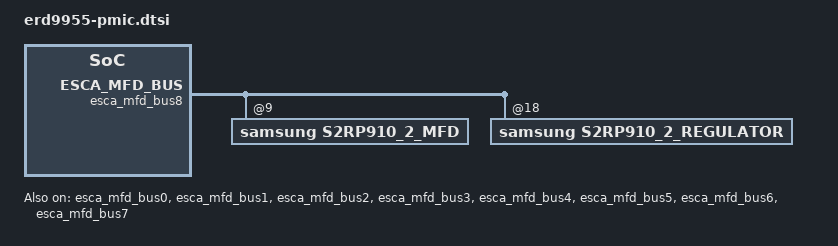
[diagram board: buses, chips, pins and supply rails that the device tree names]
/*
 * SAMSUNG S5E9955 SOC PMIC device tree source
 *
 * Copyright (c) 2024 Samsung Electronics Co., Ltd.
 *             http://www.samsung.com
 *
 * SAMSUNG S5E9955 SOC PMIC device nodes are listed in this file.
 * EXYNOS based board files can include this file and provide
 * values for board specfic bindings.
 *
 * This program is free software; you can redistribute it and/or modify
 * it under the terms of the GNU General Public License version 2 as
 * published by the Free Software Foundation.
 */

#include <dt-bindings/soc/samsung/s5e9955-esca-ipc.h>

#define FCCM			1
#define AUTO			2

#define MAIN_ONSRC_ADDR		0x0504
#define MAIN_OFFSRC_ADDR	0x0414
#define SUB_OFFSRC_ADDR		0x0509
#define EXT_OFFSRC_ADDR		0x050A
#define RF_OFFSRC_ADDR		0x0507

&pinctrl_7 {
	smpl_warn: smpl-warn {
		samsung,pins = "gpg0-0";
		samsung,pin-function = <15>;
		samsung,pin-pud = <0>;
		samsung,pin-drv = <0>;
		samsung,pin-con-pdn = <3>;
		samsung,pin-pud-pdn = <0>;
	};
};

&esca_mfd_bus0 {
	status = "okay";
	#address-cells = <1>;
	#size-cells = <0>;

	s2se910mfd@1 {
		compatible = "samsung,s2se910_mfd";
		esca-ipc-channel = <ESCA_IPC_PHY__MFD>;
		s2p,wakeup = <1>;
		reg = <0x01>;
		sid = <0x0D>;
		pinctrl-names = "default";
		pinctrl-0 = <&smpl_warn>;
		gpios = <&gpg0 0 0>;

		/* SMPL_WARN */
		smpl_warn_en = <1>; /* 1 : enable , 0 : disable */

		s2p_irq {
			interrupts = <GIC_SPI INTREQ__COMB_NONSECURE_INTCOMB_VGPIO2AP IRQ_TYPE_LEVEL_HIGH>;
			interrupt-parent = <&gic>;
			s2p,vgi_cnt = <6>;
			sysreg,spmi_master_pmic = <0x13A00000>;
			sysreg,vgpio_monitor = <0>;
			sysreg,vgpio_monitor2 = <4>;		//offset 4 for spmi_master_pmic_ap
			sysreg,intcomb_vgpio2ap = <0x13920000>;
			sysreg,intcomb_vgpio2pmu = < 0x13940000>;
			sysreg,intc0_ipend = <0x0290>;
		};

		s2p_rtc {
			/* wtsr/smpl */
			wtsr_en = <1>; /* 1 : enable, 0 : disable */
			smpl_en = <1>; /* 1 : enable, 0 : disable */
			wtsr_timer_val = <3>;	/* 1000ms */
			smpl_timer_val = <0>;	/* 100ms */
			check_jigon_en = <0>; /* do not check jigon */
			/* If it's first boot, reset rtc to 1/1/2024 12:00:00(Mon) */
			init_time,sec = <0>;
			init_time,min = <0>;
			init_time,hour = <12>;
			init_time,mday = <1>;
			init_time,mon = <0>;
			init_time,year = <124>;
			init_time,wday = <1>;
		};

		s2se910_gpadc: s2se910-gpadc {
			#io-channel-cells = <1>;
			io-channel-ranges;
			esca-ipc-channel = <ESCA_IPC_PHY__ADC>;
		};

	       s2se910-keys {
			button@1 {
				label = "pmic-keys: KEY_POWER";
				linux,code = <116>;
				wakeup;
			};

			button@2 {
				label = "pmic-keys: KEY_VOLUMEDOWN";
				linux,code = <114>;
			};
		};
	}; /* end of s2se910mfd@1 */

	s2se910_regulator@10 {
		compatible = "samsung,s2se910_regulator";
		esca-ipc-channel = <ESCA_IPC_PHY__MFD>;
		reg = <0x10>;
		sid = <0x0D>;

		inst_acok_en = <1>; /* 1 : enable , 0 : disable */
		jig_reboot_en = <1>; /* 1 : enable , 0 : disable */
		pmic_src_no = <0>; /* pmic src index */
		on_src = <MAIN_ONSRC_ADDR 2>; /* start addr, num of addr */
		off_src = <MAIN_OFFSRC_ADDR 2>; /* start addr, num of addr */

		regulators {
			b1_sr1_reg: BUCK_SR1 {
				regulator-name = "vdd_buck_sr1m";
				regulator-min-microvolt = <1750000>;
				regulator-max-microvolt = <2000000>;
				regulator-ramp-delay = <6000>;
				regulator-enable-mode = <3>;
				regulator-always-on;
			};

			bb1_reg: BUCKB1 {
				regulator-name = "vdd_buck_boost1m";
				regulator-min-microvolt = <3000000>;
				regulator-max-microvolt = <3600000>;
				regulator-ramp-delay = <6000>;
				regulator-enable-mode = <3>;
				regulator-always-on;
			};

			bb2_reg: BUCKB2 {
				regulator-name = "vdd_buck_boost2m";
				regulator-min-microvolt = <2600000>;
				regulator-max-microvolt = <3600000>;
				regulator-ramp-delay = <6000>;
				regulator-enable-mode = <3>;
				regulator-always-on;
			};

			l1_reg: LDO1 {
				regulator-name = "vdd_ldo1m";
				regulator-min-microvolt = <1600000>;
				regulator-max-microvolt = <1900000>;
				regulator-ramp-delay = <12000>;
				regulator-enable-mode = <3>;
				regulator-always-on;
			};
/*
			l2_reg: LDO2 {
				regulator-name = "vdd_ldo2m";
				regulator-min-microvolt = <1600000>;
				regulator-max-microvolt = <1900000>;
				regulator-ramp-delay = <12000>;
				regulator-enable-mode = <3>;
				regulator-always-on;
			};
*/
			l3_reg: LDO3 {
				regulator-name = "vdd_ldo3m";
				regulator-min-microvolt = <1600000>;
				regulator-max-microvolt = <1900000>;
				regulator-ramp-delay = <12000>;
				regulator-enable-mode = <3>;
				regulator-always-on;
			};

			l4_reg: LDO4 {
				regulator-name = "vdd_ldo4m";
				regulator-min-microvolt = <1600000>;
				regulator-max-microvolt = <1900000>;
				regulator-ramp-delay = <12000>;
				regulator-enable-mode = <3>;
				regulator-always-on;
			};

			l5_reg: LDO5 {
				regulator-name = "vdd_ldo5m";
				regulator-min-microvolt = <1600000>;
				regulator-max-microvolt = <1900000>;
				regulator-ramp-delay = <12000>;
				regulator-enable-mode = <3>;
				regulator-always-on;
			};

			l6_reg: LDO6 {
				regulator-name = "vdd_ldo6m";
				regulator-min-microvolt = <1600000>;
				regulator-max-microvolt = <1900000>;
				regulator-ramp-delay = <12000>;
				regulator-enable-mode = <3>;
				regulator-always-on;
			};

			l7_reg: LDO7 {
				regulator-name = "vdd18_usb";
				regulator-min-microvolt = <1600000>;
				regulator-max-microvolt = <1900000>;
				regulator-ramp-delay = <12000>;
				regulator-enable-mode = <3>;
			};

			l8_reg: LDO8 {
				regulator-name = "vdd_ldo8m";
				regulator-min-microvolt = <1800000>;
				regulator-max-microvolt = <3375000>;
				regulator-ramp-delay = <12000>;
				regulator-enable-mode = <3>;
			};

			l9_reg: LDO9 {
				regulator-name = "vdd_ldo9m";
				regulator-min-microvolt = <1800000>;
				regulator-max-microvolt = <3375000>;
				regulator-ramp-delay = <12000>;
				regulator-enable-mode = <3>;
			};

			l10_reg: LDO10 {
				regulator-name = "vdd_ldo10m";
				regulator-min-microvolt = <1800000>;
				regulator-max-microvolt = <3375000>;
				regulator-ramp-delay = <12000>;
				regulator-enable-mode = <3>;
				regulator-always-on;
			};

			l11_reg: LDO11 {
				regulator-name = "vdd33_usb";
				regulator-min-microvolt = <1800000>;
				regulator-max-microvolt = <3375000>;
				regulator-ramp-delay = <12000>;
				regulator-enable-mode = <3>;
			};

			l12_reg: LDO12 {
				regulator-name = "vdd_ldo12m";
				regulator-min-microvolt = <1600000>;
				regulator-max-microvolt = <1900000>;
				regulator-ramp-delay = <12000>;
				regulator-enable-mode = <3>;
				regulator-always-on;
			};

			l13_reg: LDO13 {
				regulator-name = "vdd_ldo13m";
				regulator-min-microvolt = <1600000>;
				regulator-max-microvolt = <1900000>;
				regulator-ramp-delay = <12000>;
				regulator-enable-mode = <3>;
				regulator-always-on;
			};

			l14_reg: LDO14 {
				regulator-name = "vdd_ldo14m";
				regulator-min-microvolt = <1600000>;
				regulator-max-microvolt = <1900000>;
				regulator-ramp-delay = <12000>;
				regulator-enable-mode = <3>;
				regulator-always-on;
			};

			l15_reg: LDO15 {
				regulator-name = "vdd_ldo15m";
				regulator-min-microvolt = <1600000>;
				regulator-max-microvolt = <1900000>;
				regulator-ramp-delay = <12000>;
				regulator-enable-mode = <3>;
				regulator-always-on;
			};

			l16_reg: LDO16 {
				regulator-name = "vdd_ldo16m";
				regulator-min-microvolt = <1600000>;
				regulator-max-microvolt = <1900000>;
				regulator-ramp-delay = <12000>;
				regulator-enable-mode = <3>;
				regulator-always-on;
			};

			l17_reg: LDO17 {
				regulator-name = "vdd_ldo17m";
				regulator-min-microvolt = <1600000>;
				regulator-max-microvolt = <1900000>;
				regulator-ramp-delay = <12000>;
				regulator-enable-mode = <3>;
				regulator-always-on;
			};

			l18_reg: LDO18 {
				regulator-name = "vdd_ldo18m";
				regulator-min-microvolt = <1600000>;
				regulator-max-microvolt = <1900000>;
				regulator-ramp-delay = <12000>;
				regulator-enable-mode = <3>;
				regulator-always-on;
			};

			l19_reg: LDO19 {
				regulator-name = "vdd_ldo19m";
				regulator-min-microvolt = <1600000>;
				regulator-max-microvolt = <1900000>;
				regulator-ramp-delay = <12000>;
				regulator-enable-mode = <3>;
				regulator-always-on;
			};

			l20_reg: LDO20 {
				regulator-name = "vdd_ldo20m";
				regulator-min-microvolt = <1800000>;
				regulator-max-microvolt = <3375000>;
				regulator-ramp-delay = <12000>;
				regulator-enable-mode = <3>;
				regulator-always-on;
			};

			l21_reg: LDO21 {
				regulator-name = "vdd_ldo21m";
				regulator-min-microvolt = <1800000>;
				regulator-max-microvolt = <3375000>;
				regulator-ramp-delay = <12000>;
				regulator-enable-mode = <3>;
				regulator-always-on;
			};

			l22_reg: LDO22 {
				regulator-name = "vdd_ldo22m";
				regulator-min-microvolt = <1800000>;
				regulator-max-microvolt = <3375000>;
				regulator-ramp-delay = <12000>;
				regulator-enable-mode = <3>;
				regulator-always-on;
			};

			l23_reg: LDO23 {
				regulator-name = "vdd_ldo23m";
				regulator-min-microvolt = <1800000>;
				regulator-max-microvolt = <3375000>;
				regulator-ramp-delay = <12000>;
				regulator-enable-mode = <3>;
				regulator-always-on;
			};
/*
			l24_reg: LDO24 {
				regulator-name = "vdd_ldo24m";
				regulator-min-microvolt = <1800000>;
				regulator-max-microvolt = <3375000>;
				regulator-ramp-delay = <12000>;
				regulator-enable-mode = <3>;
				regulator-always-on;
			};

			l25_reg: LDO25 {
				regulator-name = "vdd_ldo25m";
				regulator-min-microvolt = <1800000>;
				regulator-max-microvolt = <3375000>;
				regulator-ramp-delay = <12000>;
				regulator-enable-mode = <3>;
				regulator-always-on;
			};
*/
			l26_reg: LDO26 {
				regulator-name = "vdd_ldo26m";
				regulator-min-microvolt = <1600000>;
				regulator-max-microvolt = <1900000>;
				regulator-ramp-delay = <12000>;
				regulator-enable-mode = <3>;
				regulator-always-on;
			};
		}; /* end of regulators */
	}; /* end of s2se910_regulator@10 */
}; /* end of esca_mfd_bus0 */

&esca_mfd_bus1 {
	status = "okay";
	#address-cells = <1>;
	#size-cells = <0>;

	s2se911_1_mfd@2 {
		compatible = "samsung,s2se911_1_mfd";
		esca-ipc-channel = <ESCA_IPC_PHY__MFD>;
		s2p,wakeup = <1>;
		reg = <0x02>;
		sid = <0x00>;

		s2se911_1_gpio: s2se911-gpio {
			gpio-controller;
			#gpio-cells = <2>;
			samsung,npins = <6>;
			status = "okay";
		}; /* s2se911-gpio */
	}; /* end of s2se911_1_mfd@2 */

	s2se911_1_regulator@11 {
		compatible = "samsung,s2se911_1_regulator";
		esca-ipc-channel = <ESCA_IPC_PHY__MFD>;
		reg = <0x11>;
		sid = <0x00>;
		wtsr_en = <1>; /* 0 : disable, 1: enable */
		pmic_src_no = <1>; /* pmic src index */
		off_src = <SUB_OFFSRC_ADDR 1>; /* start addr, num of addr */

		regulators {
			s1_b1_reg: BUCK1 {
				regulator-name = "vdd_buck1s1";
				regulator-min-microvolt = <400000>;
				regulator-max-microvolt = <1250000>;
				regulator-ramp-delay = <6000>;
				regulator-enable-mode = <1>;
				regulator-always-on;
			};

			s1_b2_reg: BUCK2 {
				regulator-name = "vdd_buck2s1";
				regulator-min-microvolt = <400000>;
				regulator-max-microvolt = <1250000>;
				regulator-ramp-delay = <6000>;
				regulator-enable-mode = <1>;
				regulator-always-on;
			};

			s1_b3_reg: BUCK3 {
				regulator-name = "vdd_buck3s1";
				regulator-min-microvolt = <400000>;
				regulator-max-microvolt = <1250000>;
				regulator-ramp-delay = <6000>;
				regulator-enable-mode = <1>;
				regulator-always-on;
			};

			s1_b4_reg: BUCK4 {
				regulator-name = "vdd_buck4s1";
				regulator-min-microvolt = <400000>;
				regulator-max-microvolt = <1250000>;
				regulator-ramp-delay = <6000>;
				regulator-enable-mode = <1>;
				regulator-always-on;
			};

			s1_b5_reg: BUCK5 {
				regulator-name = "vdd_buck5s1";
				regulator-min-microvolt = <400000>;
				regulator-max-microvolt = <1250000>;
				regulator-ramp-delay = <6000>;
				regulator-enable-mode = <1>;
				regulator-always-on;
			};

			s1_b6_reg: BUCK6 {
				regulator-name = "vdd_buck6s1";
				regulator-min-microvolt = <400000>;
				regulator-max-microvolt = <1250000>;
				regulator-ramp-delay = <6000>;
				regulator-enable-mode = <1>;
				regulator-always-on;
			};
/*
			s1_b_sr1_reg: BUCK_SR1 {
				regulator-name = "vdd_buck_sr1s1";
				regulator-min-microvolt = <400000>;
				regulator-max-microvolt = <1350000>;
				regulator-ramp-delay = <6000>;
				regulator-enable-mode = <3>;
				regulator-always-on;
			};
*/
			s1_l1_reg: LDO1 {
				regulator-name = "vdd_ldo1s1";
				regulator-min-microvolt = <400000>;
				regulator-max-microvolt = <1300000>;
				regulator-ramp-delay = <12000>;
				regulator-enable-mode = <1>;
				regulator-always-on;
			};
/*
			s1_l2_reg: LDO2 {
				regulator-name = "vdd_ldo2s1";
				regulator-min-microvolt = <400000>;
				regulator-max-microvolt = <1300000>;
				regulator-ramp-delay = <12000>;
				regulator-enable-mode = <3>;
				regulator-always-on;
			};

			s1_l3_reg: LDO3 {
				regulator-name = "vdd_ldo3s1";
				regulator-min-microvolt = <400000>;
				regulator-max-microvolt = <1300000>;
				regulator-ramp-delay = <12000>;
				regulator-enable-mode = <3>;
				regulator-always-on;
			};
*/
			s1_l4_reg: LDO4 {
				regulator-name = "vdd_ldo4s1";
				regulator-min-microvolt = <400000>;
				regulator-max-microvolt = <1300000>;
				regulator-ramp-delay = <12000>;
				regulator-enable-mode = <3>;
				regulator-always-on;
			};

			s1_l5_reg: LDO5 {
				regulator-name = "vdd_ldo5s1";
				regulator-min-microvolt = <400000>;
				regulator-max-microvolt = <1300000>;
				regulator-ramp-delay = <12000>;
				regulator-enable-mode = <1>;
				regulator-always-on;
			};

			s1_l6_reg: LDO6 {
				regulator-name = "vdd_ldo6s1";
				regulator-min-microvolt = <400000>;
				regulator-max-microvolt = <1300000>;
				regulator-ramp-delay = <12000>;
				regulator-enable-mode = <3>;
				regulator-always-on;
			};
		}; /* end of regulators */
	}; /* end of s2se911_1_regulator@11 */
}; /* end of esca_mfd_bus1 */

&esca_mfd_bus2 {
	status = "okay";
	#address-cells = <1>;
	#size-cells = <0>;

	s2se911_2_mfd@3 {
		compatible = "samsung,s2se911_2_mfd";
		esca-ipc-channel = <ESCA_IPC_PHY__MFD>;
		s2p,wakeup = <1>;
		sid = <0x04>;
		reg = <0x03>;

		s2se911_2_gpio: s2se911-gpio {
			gpio-controller;
			#gpio-cells = <2>;
			samsung,npins = <6>;
			status = "okay";
		}; /* s2se911-gpio */
	}; /* end of s2se911_2_mfd@03 */

	s2se911_2_regulator@12 {
		compatible = "samsung,s2se911_2_regulator";
		esca-ipc-channel = <ESCA_IPC_PHY__MFD>;
		reg = <0x12>;
		sid = <0x04>;
		wtsr_en = <1>; /* 0 : disable, 1: enable */
		pmic_src_no = <2>; /* pmic src index */
		off_src = <SUB_OFFSRC_ADDR 1>; /* start addr, num of addr */

		regulators {
/*
			s2_b1_reg: BUCK1 {
				regulator-name = "vdd_buck1s2";
				regulator-min-microvolt = <400000>;
				regulator-max-microvolt = <1250000>;
				regulator-ramp-delay = <6000>;
				regulator-enable-mode = <3>;
				regulator-always-on;
			};

			s2_b2_reg: BUCK2 {
				regulator-name = "vdd_buck2s2";
				regulator-min-microvolt = <400000>;
				regulator-max-microvolt = <1250000>;
				regulator-ramp-delay = <6000>;
				regulator-enable-mode = <3>;
				regulator-always-on;
			};

			s2_b3_reg: BUCK3 {
				regulator-name = "vdd_buck3s2";
				regulator-min-microvolt = <400000>;
				regulator-max-microvolt = <1250000>;
				regulator-ramp-delay = <6000>;
				regulator-enable-mode = <3>;
				regulator-always-on;
			};
*/
			s2_b4_reg: BUCK4 {
				regulator-name = "vdd_buck4s2";
				regulator-min-microvolt = <400000>;
				regulator-max-microvolt = <1250000>;
				regulator-ramp-delay = <6000>;
				regulator-enable-mode = <1>;
				regulator-always-on;
			};

			s2_b5_reg: BUCK5 {
				regulator-name = "vdd_buck5s2";
				regulator-min-microvolt = <400000>;
				regulator-max-microvolt = <1250000>;
				regulator-ramp-delay = <6000>;
				regulator-enable-mode = <1>;
				regulator-always-on;
			};

			s2_b6_reg: BUCK6 {
				regulator-name = "vdd_buck6s2";
				regulator-min-microvolt = <400000>;
				regulator-max-microvolt = <1250000>;
				regulator-ramp-delay = <6000>;
				regulator-enable-mode = <1>;
				regulator-always-on;
			};

			s2_b_sr1_reg: BUCK_SR1 {
				regulator-name = "vdd_buck_sr1s2";
				regulator-min-microvolt = <400000>;
				regulator-max-microvolt = <1350000>;
				regulator-ramp-delay = <6000>;
				regulator-enable-mode = <3>;
				regulator-always-on;
			};
/*
			s2_l1_reg: LDO1 {
				regulator-name = "vdd_ldo1s2";
				regulator-min-microvolt = <400000>;
				regulator-max-microvolt = <1300000>;
				regulator-ramp-delay = <12000>;
				regulator-enable-mode = <3>;
				regulator-always-on;
			};

			s2_l2_reg: LDO2 {
				regulator-name = "vdd_ldo2s2";
				regulator-min-microvolt = <400000>;
				regulator-max-microvolt = <1300000>;
				regulator-ramp-delay = <12000>;
				regulator-enable-mode = <3>;
				regulator-always-on;
			};
*/
			s2_l3_reg: LDO3 {
				regulator-name = "vdd_ldo3s2";
				regulator-min-microvolt = <400000>;
				regulator-max-microvolt = <1300000>;
				regulator-ramp-delay = <12000>;
				regulator-enable-mode = <1>;
				regulator-always-on;
			};

			s2_l4_reg: LDO4 {
				regulator-name = "vdd_ldo4s2";
				regulator-min-microvolt = <400000>;
				regulator-max-microvolt = <1300000>;
				regulator-ramp-delay = <12000>;
				regulator-enable-mode = <1>;
				regulator-always-on;
			};
/*
			s2_l5_reg: LDO5 {
				regulator-name = "vdd_ldo5s2";
				regulator-min-microvolt = <400000>;
				regulator-max-microvolt = <1300000>;
				regulator-ramp-delay = <12000>;
				regulator-enable-mode = <3>;
				regulator-always-on;
			};

			s2_l6_reg: LDO6 {
				regulator-name = "vdd_ldo6s2";
				regulator-min-microvolt = <400000>;
				regulator-max-microvolt = <1300000>;
				regulator-ramp-delay = <12000>;
				regulator-enable-mode = <3>;
				regulator-always-on;
			};
*/
		}; /* end of regulators */
	}; /* end of s2se911_2_regulator@12 */
}; /* end of esca_mfd_bus2 */

&esca_mfd_bus3 {
	status = "okay";
	#address-cells = <1>;
	#size-cells = <0>;

	s2se911_3_mfd@4 {
		compatible = "samsung,s2se911_3_mfd";
		esca-ipc-channel = <ESCA_IPC_PHY__MFD>;
		s2p,wakeup = <1>;
		reg = <0x04>;
		sid = <0x06>;

		s2se911_3_gpio: s2se911-gpio {
			gpio-controller;
			#gpio-cells = <2>;
			samsung,npins = <6>;
			status = "okay";
			pinctrl_nfc_ven: pinctrl-nfc-ven {
				pins = "gpio_s2";
				pmic-gpio,pull-disable;
			};

			pinctrl_nfc_firm: pinctrl-nfc-firm {
				pins = "gpio_s1";
				pmic-gpio,pull-disable;
			};
		}; /* s2se911-gpio */
	}; /* end of s2se911_3_mfd@4 */

	s2se911_3_regulator@13 {
		compatible = "samsung,s2se911_3_regulator";
		esca-ipc-channel = <ESCA_IPC_PHY__MFD>;
		reg = <0x13>;
		sid = <0x06>;
		wtsr_en = <1>; /* 0 : disable, 1: enable */
		pmic_src_no = <3>; /* pmic src index */
		off_src = <SUB_OFFSRC_ADDR 1>; /* start addr, num of addr */

		regulators {
			s3_b1_reg: BUCK1 {
				regulator-name = "vdd_buck1s3";
				regulator-min-microvolt = <400000>;
				regulator-max-microvolt = <1250000>;
				regulator-ramp-delay = <6000>;
				regulator-enable-mode = <1>;
				regulator-always-on;
			};

			s3_b2_reg: BUCK2 {
				regulator-name = "vdd_buck2s3";
				regulator-min-microvolt = <400000>;
				regulator-max-microvolt = <1250000>;
				regulator-ramp-delay = <6000>;
				regulator-enable-mode = <1>;
				regulator-always-on;
			};

			s3_b3_reg: BUCK3 {
				regulator-name = "vdd_buck3s3";
				regulator-min-microvolt = <400000>;
				regulator-max-microvolt = <1250000>;
				regulator-ramp-delay = <6000>;
				regulator-enable-mode = <1>;
				regulator-always-on;
			};

			s3_b4_reg: BUCK4 {
				regulator-name = "vdd_buck4s3";
				regulator-min-microvolt = <400000>;
				regulator-max-microvolt = <1250000>;
				regulator-ramp-delay = <6000>;
				regulator-enable-mode = <1>;
				regulator-always-on;
			};

			s3_b5_reg: BUCK5 {
				regulator-name = "vdd_buck5s3";
				regulator-min-microvolt = <400000>;
				regulator-max-microvolt = <1250000>;
				regulator-ramp-delay = <6000>;
				regulator-enable-mode = <1>;
				regulator-always-on;
			};

			s3_b6_reg: BUCK6 {
				regulator-name = "vdd_buck6s3";
				regulator-min-microvolt = <400000>;
				regulator-max-microvolt = <1250000>;
				regulator-ramp-delay = <6000>;
				regulator-enable-mode = <1>;
				regulator-always-on;
			};

			s3_b_sr1_reg: BUCK_SR1 {
				regulator-name = "vdd_buck_sr1s3";
				regulator-min-microvolt = <400000>;
				regulator-max-microvolt = <1350000>;
				regulator-ramp-delay = <6000>;
				regulator-enable-mode = <3>;
				regulator-always-on;
			};

			s3_l1_reg: LDO1 {
				regulator-name = "vdd_ldo1s3";
				regulator-min-microvolt = <400000>;
				regulator-max-microvolt = <1300000>;
				regulator-ramp-delay = <12000>;
				regulator-enable-mode = <1>;
				regulator-always-on;
			};

			s3_l2_reg: LDO2 {
				regulator-name = "vdd12_usb";
				regulator-min-microvolt = <400000>;
				regulator-max-microvolt = <1300000>;
				regulator-ramp-delay = <12000>;
				regulator-enable-mode = <3>;
			};

			s3_l3_reg: LDO3 {
				regulator-name = "vdd_ldo3s3";
				regulator-min-microvolt = <400000>;
				regulator-max-microvolt = <1300000>;
				regulator-ramp-delay = <12000>;
				regulator-enable-mode = <3>;
				regulator-always-on;
			};

			s3_l4_reg: LDO4 {
				regulator-name = "vdd_ldo4s3";
				regulator-min-microvolt = <400000>;
				regulator-max-microvolt = <1300000>;
				regulator-ramp-delay = <12000>;
				regulator-enable-mode = <2>;
				regulator-always-on;
			};
/*
			s3_l5_reg: LDO5 {
				regulator-name = "vdd_ldo5s3";
				regulator-min-microvolt = <400000>;
				regulator-max-microvolt = <1300000>;
				regulator-ramp-delay = <12000>;
				regulator-enable-mode = <3>;
				regulator-always-on;
			};
*/
			s3_l6_reg: LDO6 {
				regulator-name = "vdd_ldo6s3";
				regulator-min-microvolt = <400000>;
				regulator-max-microvolt = <1300000>;
				regulator-ramp-delay = <12000>;
				regulator-enable-mode = <3>;
			};
		}; /* end of regulators */
	}; /* end of s2se911_3_regulator@13 */
}; /* end of esca_mfd_bus3 */

&esca_mfd_bus4 {
	status = "okay";
	#address-cells = <1>;
	#size-cells = <0>;

	s2se911_4_mfd@5 {
		compatible = "samsung,s2se911_4_mfd";
		esca-ipc-channel = <ESCA_IPC_PHY__MFD>;
		s2p,wakeup = <1>;
		reg = <0x05>;
		sid = <0x0B>;

		s2se911_4_gpio: s2se911-gpio {
			gpio-controller;
			#gpio-cells = <2>;
			samsung,npins = <6>;
			status = "okay";
		}; /* s2se911-gpio */
	}; /* end of s2se911_4_mfd@5 */

	s2se911_4_regulator@14 {
		compatible = "samsung,s2se911_4_regulator";
		esca-ipc-channel = <ESCA_IPC_PHY__MFD>;
		reg = <0x14>;
		sid = <0x0B>;
		wtsr_en = <1>; /* 0 : disable, 1: enable */
		pmic_src_no = <4>; /* pmic src index */
		off_src = <SUB_OFFSRC_ADDR 1>; /* start addr, num of addr */

		regulators {
			s4_b1_reg: BUCK1 {
				regulator-name = "vdd_buck1s4";
				regulator-min-microvolt = <400000>;
				regulator-max-microvolt = <1250000>;
				regulator-ramp-delay = <6000>;
				regulator-enable-mode = <1>;
				regulator-always-on;
			};

			s4_b2_reg: BUCK2 {
				regulator-name = "vdd_buck2s4";
				regulator-min-microvolt = <400000>;
				regulator-max-microvolt = <1250000>;
				regulator-ramp-delay = <6000>;
				regulator-enable-mode = <1>;
				regulator-always-on;
			};

			s4_b3_reg: BUCK3 {
				regulator-name = "vdd_buck3s4";
				regulator-min-microvolt = <400000>;
				regulator-max-microvolt = <1250000>;
				regulator-ramp-delay = <6000>;
				regulator-enable-mode = <1>;
				regulator-always-on;
			};

			s4_b4_reg: BUCK4 {
				regulator-name = "vdd_buck4s4";
				regulator-min-microvolt = <400000>;
				regulator-max-microvolt = <1250000>;
				regulator-ramp-delay = <6000>;
				regulator-enable-mode = <1>;
				regulator-always-on;
			};

			s4_b5_reg: BUCK5 {
				regulator-name = "vdd_buck5s4";
				regulator-min-microvolt = <400000>;
				regulator-max-microvolt = <1250000>;
				regulator-ramp-delay = <6000>;
				regulator-enable-mode = <1>;
				regulator-always-on;
			};

			s4_b6_reg: BUCK6 {
				regulator-name = "vdd_buck6s4";
				regulator-min-microvolt = <400000>;
				regulator-max-microvolt = <1250000>;
				regulator-ramp-delay = <6000>;
				regulator-enable-mode = <1>;
				regulator-always-on;
			};

			s4_b_sr1_reg: BUCK_SR1 {
				regulator-name = "vdd_buck_sr1s4";
				regulator-min-microvolt = <400000>;
				regulator-max-microvolt = <1350000>;
				regulator-ramp-delay = <6000>;
				regulator-enable-mode = <3>;
				regulator-always-on;
			};

			s4_l1_reg: LDO1 {
				regulator-name = "vdd_ldo1s4";
				regulator-min-microvolt = <400000>;
				regulator-max-microvolt = <1300000>;
				regulator-ramp-delay = <12000>;
				regulator-enable-mode = <1>;
				regulator-always-on;
			};

			s4_l2_reg: LDO2 {
				regulator-name = "vdd_ldo2s4";
				regulator-min-microvolt = <400000>;
				regulator-max-microvolt = <1300000>;
				regulator-ramp-delay = <12000>;
				regulator-enable-mode = <1>;
				regulator-always-on;
			};
/*
			s4_l3_reg: LDO3 {
				regulator-name = "vdd_ldo3s4";
				regulator-min-microvolt = <400000>;
				regulator-max-microvolt = <1300000>;
				regulator-ramp-delay = <12000>;
				regulator-enable-mode = <3>;
				regulator-always-on;
			};

			s4_l4_reg: LDO4 {
				regulator-name = "vdd_ldo4s4";
				regulator-min-microvolt = <400000>;
				regulator-max-microvolt = <1300000>;
				regulator-ramp-delay = <12000>;
				regulator-enable-mode = <3>;
				regulator-always-on;
			};
*/
			s4_l5_reg: LDO5 {
				regulator-name = "vdd_ldo5s4";
				regulator-min-microvolt = <400000>;
				regulator-max-microvolt = <1300000>;
				regulator-ramp-delay = <12000>;
				regulator-enable-mode = <1>;
				regulator-always-on;
			};

			s4_l6_reg: LDO6 {
				regulator-name = "vdd_ldo6s4";
				regulator-min-microvolt = <400000>;
				regulator-max-microvolt = <1300000>;
				regulator-ramp-delay = <12000>;
				regulator-enable-mode = <1>;
				regulator-always-on;
			};
		}; /* end of regulators */
	}; /* end of s2se911_4_regulator@14 */
}; /* end of esca_mfd_bus4 */

&esca_mfd_bus5 {
	status = "okay";
	#address-cells = <1>;
	#size-cells = <0>;

	s2se911_5_mfd@6 {
		compatible = "samsung,s2se911_5_mfd";
		esca-ipc-channel = <ESCA_IPC_PHY__MFD>;
		s2p,wakeup = <1>;
		reg = <0x06>;
		sid = <0x0C>;

		s2se911_5_gpio: s2se911-gpio {
			gpio-controller;
			#gpio-cells = <2>;
			samsung,npins = <6>;
			status = "okay";
		}; /* s2se911-gpio */
	}; /* end of s2se911_5_mfd@06 */

	s2se911_5_regulator@15 {
		compatible = "samsung,s2se911_5_regulator";
		esca-ipc-channel = <ESCA_IPC_PHY__MFD>;
		reg = <0x15>;
		sid = <0x0C>;
		wtsr_en = <1>; /* 0 : disable, 1: enable */
		pmic_src_no = <5>; /* pmic src index */
		off_src = <SUB_OFFSRC_ADDR 1>; /* start addr, num of addr */

		regulators {
			s5_b1_reg: BUCK1 {
				regulator-name = "vdd_buck1s5";
				regulator-min-microvolt = <400000>;
				regulator-max-microvolt = <1250000>;
				regulator-ramp-delay = <6000>;
				regulator-enable-mode = <1>;
				regulator-always-on;
			};

			s5_b2_reg: BUCK2 {
				regulator-name = "vdd_buck2s5";
				regulator-min-microvolt = <400000>;
				regulator-max-microvolt = <1250000>;
				regulator-ramp-delay = <6000>;
				regulator-enable-mode = <1>;
				regulator-always-on;
			};

			s5_b3_reg: BUCK3 {
				regulator-name = "vdd_buck3s5";
				regulator-min-microvolt = <400000>;
				regulator-max-microvolt = <1250000>;
				regulator-ramp-delay = <6000>;
				regulator-enable-mode = <1>;
				regulator-always-on;
			};

			s5_b4_reg: BUCK4 {
				regulator-name = "vdd_buck4s5";
				regulator-min-microvolt = <400000>;
				regulator-max-microvolt = <1250000>;
				regulator-ramp-delay = <6000>;
				regulator-enable-mode = <1>;
				regulator-always-on;
			};

			s5_b5_reg: BUCK5 {
				regulator-name = "vdd_buck5s5";
				regulator-min-microvolt = <400000>;
				regulator-max-microvolt = <1250000>;
				regulator-ramp-delay = <6000>;
				regulator-enable-mode = <1>;
				regulator-always-on;
			};

			s5_b6_reg: BUCK6 {
				regulator-name = "vdd_buck6s5";
				regulator-min-microvolt = <400000>;
				regulator-max-microvolt = <1250000>;
				regulator-ramp-delay = <6000>;
				regulator-enable-mode = <3>;
				regulator-always-on;
			};

			s5_b_sr1_reg: BUCK_SR1 {
				regulator-name = "vdd__sr1s5";
				regulator-min-microvolt = <400000>;
				regulator-max-microvolt = <1350000>;
				regulator-ramp-delay = <6000>;
				regulator-enable-mode = <3>;
				regulator-always-on;
			};
/*
			s5_l1_reg: LDO1 {
				regulator-name = "vdd_ldo1s5";
				regulator-min-microvolt = <400000>;
				regulator-max-microvolt = <1300000>;
				regulator-ramp-delay = <12000>;
				regulator-enable-mode = <3>;
				regulator-always-on;
			};
*/
			s5_l2_reg: LDO2 {
				regulator-name = "vdd_ldo2s5";
				regulator-min-microvolt = <400000>;
				regulator-max-microvolt = <1300000>;
				regulator-ramp-delay = <12000>;
				regulator-enable-mode = <1>;
				regulator-always-on;
			};

			s5_l3_reg: LDO3 {
				regulator-name = "vdd_ldo3s5";
				regulator-min-microvolt = <400000>;
				regulator-max-microvolt = <1300000>;
				regulator-ramp-delay = <12000>;
				regulator-enable-mode = <1>;
				regulator-always-on;
			};

			s5_l4_reg: LDO4 {
				regulator-name = "vdd_ldo4s5";
				regulator-min-microvolt = <400000>;
				regulator-max-microvolt = <1300000>;
				regulator-ramp-delay = <12000>;
				regulator-enable-mode = <3>;
				regulator-always-on;
			};

			s5_l5_reg: LDO5 {
				regulator-name = "vdd075_usb";
				regulator-min-microvolt = <400000>;
				regulator-max-microvolt = <1300000>;
				regulator-ramp-delay = <12000>;
				regulator-enable-mode = <3>;
			};
/*
			s5_l6_reg: LDO6 {
				regulator-name = "vdd_ldo6s5";
				regulator-min-microvolt = <400000>;
				regulator-max-microvolt = <1300000>;
				regulator-ramp-delay = <12000>;
				regulator-enable-mode = <3>;
				regulator-always-on;
			};
*/
		}; /* end of regulators */
	}; /* end of s2se911_5_regulator@15 */
}; /* end of esca_mfd_bus5 */

&esca_mfd_bus6 {
	status = "okay";
	#address-cells = <1>;
	#size-cells = <0>;

	s2mpa05mfd@7 {
		compatible = "samsung,s2mpa05_mfd";
		esca-ipc-channel = <ESCA_IPC_PHY__MFD>;
		s2p,wakeup = <1>;
		reg = <0x07>;
		sid = <0x01>;

		/* s2mpa05-gpio */
		s2mpa05_gpio: s2mpa05-gpio {
			gpio-controller;
			#gpio-cells = <2>;
			samsung,npins = <2>;
			status = "okay";
		};
	}; /* end of s2mpa05mfd@7 */

	s2mpa05_regulator@16 {
		compatible = "samsung,s2mpa05_regulator";
		esca-ipc-channel = <ESCA_IPC_PHY__MFD>;
		reg = <0x16>;
		sid = <0x01>;
		wtsr_en = <1>; /* 0 : disable, 1: enable */
		pmic_src_no = <6>; /* pmic src index */
		off_src = <EXT_OFFSRC_ADDR 2>; /* start addr, num of addr */

		regulators {
			e_b1_reg: BUCK1 {
				regulator-name = "vdd_buck1e";
				regulator-min-microvolt = <400000>;
				regulator-max-microvolt = <1300000>;
				regulator-ramp-delay = <6000>;
				regulator-enable-mode = <1>;
				regulator-always-on;
			};

			e_b2_reg: BUCK2 {
				regulator-name = "vdd_buck2e";
				regulator-min-microvolt = <400000>;
				regulator-max-microvolt = <1300000>;
				regulator-ramp-delay = <6000>;
				regulator-enable-mode = <1>;
				regulator-always-on;
			};

			e_b3_reg: BUCK3 {
				regulator-name = "vdd_buck3e";
				regulator-min-microvolt = <400000>;
				regulator-max-microvolt = <1300000>;
				regulator-ramp-delay = <6000>;
				regulator-enable-mode = <1>;
				regulator-always-on;
			};

			e_b4_reg: BUCK4 {
				regulator-name = "vdd_buck4e";
				regulator-min-microvolt = <400000>;
				regulator-max-microvolt = <1300000>;
				regulator-ramp-delay = <6000>;
				regulator-enable-mode = <1>;
				regulator-always-on;
			};

			e_l1_reg: LDO1 {
				regulator-name = "VDDA_2.8V_SUB2";
				regulator-min-microvolt = <2800000>;
				regulator-max-microvolt = <2800000>;
				regulator-ramp-delay = <12000>;
				regulator-enable-mode = <3>;
			};

			e_l2_reg: LDO2 {
				regulator-name = "VDDA_AF_OIS_3.0V_SUB2";
				regulator-min-microvolt = <3000000>;
				regulator-max-microvolt = <3000000>;
				regulator-ramp-delay = <12000>;
				regulator-enable-mode = <3>;
			};

			e_l3_reg: LDO3 {
				regulator-name = "VDDAFOIS_3.0V_SUB2";
				regulator-min-microvolt = <3000000>;
				regulator-max-microvolt = <3000000>;
				regulator-ramp-delay = <12000>;
				regulator-enable-mode = <3>;
			};
/*
			e_l4_reg: LDO4 {
				regulator-name = "vdd_ldo4e";
				regulator-min-microvolt = <400000>;
				regulator-max-microvolt = <1300000>;
				regulator-ramp-delay = <12000>;
				regulator-enable-mode = <3>;
				regulator-always-on;
			};
*/
		}; /* end of regulators */
	}; /* end of s2mpa05_regulator@16 */
}; /* end of esca_mfd_bus6 */

&esca_mfd_bus7 {
	status = "okay";
	#address-cells = <1>;
	#size-cells = <0>;

	s2rp910_1_mfd@8 {
		compatible = "samsung,s2rp910_1_mfd";
		esca-ipc-channel = <ESCA_IPC_PHY__MFD>;
		s2p,wakeup = <1>;
		reg = <0x08>;
		sid = <0x02>;

		s2rp910_1_gpadc: s2rp910-gpadc {
			#io-channel-cells = <1>;
			io-channel-ranges;
			esca-ipc-channel = <ESCA_IPC_PHY__ADC>;
		};
	}; /* end of s2rp910_1_mfd@8 */

	s2rp910_1_regulator@17 {
		compatible = "samsung,s2rp910_1_regulator";
		esca-ipc-channel = <ESCA_IPC_PHY__MFD>;
		reg = <0x17>;
		sid = <0x02>;
		wtsr_en = <1>; /* 0 : disable, 1: enable */
		pmic_src_no = <7>; /* pmic src index */
		off_src = <RF_OFFSRC_ADDR 1>; /* start addr, num of addr */

		regulators {
			r1_b_sr1_reg: BUCK_SR1 {
				regulator-name = "buck_sr1r1";
				regulator-min-microvolt = <400000>;
				regulator-max-microvolt = <1350000>;
				regulator-ramp-delay = <6000>;
				regulator-enable-mode = <3>;
				regulator-always-on;
			};
/*
			r1_l1_reg: LDO1 {
				regulator-name = "vdd_ldo1r1";
				regulator-min-microvolt = <400000>;
				regulator-max-microvolt = <1300000>;
				regulator-ramp-delay = <12000>;
				regulator-enable-mode = <3>;
				regulator-always-on;
			};

			r1_l2_reg: LDO2 {
				regulator-name = "vdd_ldo2r1";
				regulator-min-microvolt = <400000>;
				regulator-max-microvolt = <1300000>;
				regulator-ramp-delay = <12000>;
				regulator-enable-mode = <3>;
				regulator-always-on;
			};

			r1_l3_reg: LDO3 {
				regulator-name = "vdd_ldo3r1";
				regulator-min-microvolt = <400000>;
				regulator-max-microvolt = <1300000>;
				regulator-ramp-delay = <12000>;
				regulator-enable-mode = <3>;
				regulator-always-on;
			};

			r1_l4_reg: LDO4 {
				regulator-name = "vdd_ldo4r1";
				regulator-min-microvolt = <400000>;
				regulator-max-microvolt = <1300000>;
				regulator-ramp-delay = <12000>;
				regulator-enable-mode = <3>;
				regulator-always-on;
			};

			r1_l5_reg: LDO5 {
				regulator-name = "vdd_ldo5r1";
				regulator-min-microvolt = <400000>;
				regulator-max-microvolt = <1300000>;
				regulator-ramp-delay = <12000>;
				regulator-enable-mode = <3>;
				regulator-always-on;
			};

			r1_l6_reg: LDO6 {
				regulator-name = "vdd_ldo6r1";
				regulator-min-microvolt = <1600000>;
				regulator-max-microvolt = <1900000>;
				regulator-ramp-delay = <12000>;
				regulator-enable-mode = <3>;
				regulator-always-on;
			};

			r1_l7_reg: LDO7 {
				regulator-name = "vdd_ldo7r1";
				regulator-min-microvolt = <400000>;
				regulator-max-microvolt = <1300000>;
				regulator-ramp-delay = <12000>;
				regulator-enable-mode = <3>;
				regulator-always-on;
			};

			r1_l8_reg: LDO8 {
				regulator-name = "vdd_ldo8r1";
				regulator-min-microvolt = <1600000>;
				regulator-max-microvolt = <1900000>;
				regulator-ramp-delay = <12000>;
				regulator-enable-mode = <3>;
				regulator-always-on;
			};
*/
		}; /* end of regulators */
	}; /* end of s2rp910_1_regulator@17 */
}; /* end of acpm_mfd_bus7 */

&esca_mfd_bus8 {
	status = "okay";
	#address-cells = <1>;
	#size-cells = <0>;

	s2rp910_2_mfd@9 {
		compatible = "samsung,s2rp910_2_mfd";
		esca-ipc-channel = <ESCA_IPC_PHY__MFD>;
		s2p,wakeup = <1>;
		reg = <0x09>;
		sid = <0x03>;

		s2rp910_2_gpadc: s2rp910-gpadc {
			#io-channel-cells = <1>;
			io-channel-ranges;
			esca-ipc-channel = <ESCA_IPC_PHY__ADC>;
		};
	}; /* end of s2rp910_2_mfd@9 */

	s2rp910_2_regulator@18 {
		compatible = "samsung,s2rp910_2_regulator";
		esca-ipc-channel = <ESCA_IPC_PHY__MFD>;
		reg = <0x18>;
		sid = <0x03>;
		wtsr_en = <1>; /* 0 : disable, 1: enable */
		pmic_src_no = <8>; /* pmic src index */
		off_src = <RF_OFFSRC_ADDR 1>; /* start addr, num of addr */

		regulators {
/*
			r2_b_sr1_reg: BUCK_SR1 {
				regulator-name = "buck_sr1r2";
				regulator-min-microvolt = <400000>;
				regulator-max-microvolt = <1350000>;
				regulator-ramp-delay = <6000>;
				regulator-enable-mode = <3>;
				regulator-always-on;
			};

			r2_l1_reg: LDO1 {
				regulator-name = "vdd_ldo1r2";
				regulator-min-microvolt = <400000>;
				regulator-max-microvolt = <1350000>;
				regulator-ramp-delay = <12000>;
				regulator-enable-mode = <3>;
				regulator-always-on;
			};

			r2_l2_reg: LDO2 {
				regulator-name = "vdd_ldo2r2";
				regulator-min-microvolt = <400000>;
				regulator-max-microvolt = <1350000>;
				regulator-ramp-delay = <12000>;
				regulator-enable-mode = <3>;
				regulator-always-on;
			};

			r2_l3_reg: LDO3 {
				regulator-name = "vdd_ldo3r2";
				regulator-min-microvolt = <400000>;
				regulator-max-microvolt = <1350000>;
				regulator-ramp-delay = <12000>;
				regulator-enable-mode = <3>;
				regulator-always-on;
			};

			r2_l4_reg: LDO4 {
				regulator-name = "vdd_ldo4r2";
				regulator-min-microvolt = <400000>;
				regulator-max-microvolt = <1350000>;
				regulator-ramp-delay = <12000>;
				regulator-enable-mode = <3>;
				regulator-always-on;
			};

			r2_l5_reg: LDO5 {
				regulator-name = "vdd_ldo5r2";
				regulator-min-microvolt = <400000>;
				regulator-max-microvolt = <1350000>;
				regulator-ramp-delay = <12000>;
				regulator-enable-mode = <3>;
				regulator-always-on;
			};

			r2_l6_reg: LDO6 {
				regulator-name = "vdd_ldo6r2";
				regulator-min-microvolt = <1600000>;
				regulator-max-microvolt = <1900000>;
				regulator-ramp-delay = <12000>;
				regulator-enable-mode = <3>;
				regulator-always-on;
			};

			r2_l7_reg: LDO7 {
				regulator-name = "vdd_ldo7r2";
				regulator-min-microvolt = <400000>;
				regulator-max-microvolt = <1350000>;
				regulator-ramp-delay = <12000>;
				regulator-enable-mode = <3>;
				regulator-always-on;
			};

			r2_l8_reg: LDO8 {
				regulator-name = "vdd_ldo8r2";
				regulator-min-microvolt = <1600000>;
				regulator-max-microvolt = <1900000>;
				regulator-ramp-delay = <12000>;
				regulator-enable-mode = <3>;
				regulator-always-on;
			};
*/
		}; /* end of regulators */
	}; /* end of s2rp910_2_regulator@18 */
}; /* end of acpm_mfd_bus8 */
